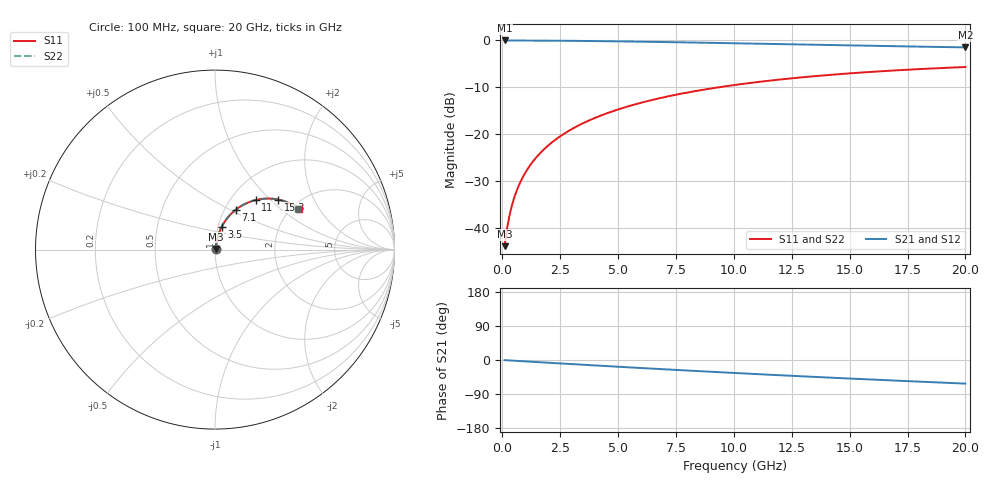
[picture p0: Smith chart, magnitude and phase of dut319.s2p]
! Touchstone file exported from HFSS 2026.1.0
!  File:  C:/ffzhzh/LocalFiles/Ansys_Project_Files/temp_train_BSMRDL_319_1783010787_51716.aedt
!  Generated:  12:48:00 AM Jul  3, 2026
!  Design:  BSMRDL
!  Project:  temp_train_BSMRDL_319_1783010787_51716
! Variables:
!  h_bsmrdl = 4.12um
!  h_ox = 20um
!  h_rdl = 5um
!  h_sub = 80um
!  h_tmrdl = 5um
!  h_tsv = 80um
!  h_via = 3um
!  l_bsmrdl = 987.64um
!  l_sub = 1387.64um
!  l_tmrdl = 200um
!  m_sub = 200um
!  pitch = 44.81um
!  r_tsv = 6um
!  s_tmrdl = 10um
!  w_bsmrdl = 17.76um
!  w_sub = 500um
!  w_tmrdl = 12um
!  x_tsv_center1 = 206um
!  x_tsv_center2 = 1211.4um
!  x_tsv_center3 = 1423.4um
!  x_tsv_center4 = 2428.8um
!  x_tsv_center5 = 2640.8um
!  x_tsv_center6 = 3646.2um
# GHz S MA R 50.000000
! Terminal data exported
! Port[1] = BSM_RDL1_1_T1
! Port[2] = BSM_RDL1_1_T2
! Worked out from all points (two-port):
!   200 points, 100 MHz to 20 GHz, reference 50 ohm
!   highest |S21| = -0.04 dB at 100 MHz (marker M1); lowest = -1.5 dB at 20 GHz (marker M2)
!   |S21| within 3 dB of the highest: start of sweep to end of sweep
!   lowest |S11| = -43.9 dB at 100 MHz (marker M3), VSWR 1.01, Z = 50.5 + j0.414 ohm
!   |S11| at or under -10 dB: start of sweep to 9.375 GHz
!   |S22| runs from -43.9 to -5.7 dB; largest |S21 - S12| = 9e-15
!   S11 on the Smith chart (normalised r, x): 100 MHz: 1.01, +0.01; 3.5 GHz: 1.04, +0.27; 7.1 GHz: 1.13, +0.53; 11 GHz: 1.30, +0.82; 15.3 GHz: 1.61, +1.12; 20 GHz: 2.16, +1.35
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0.1  0.006393 39.9  0.9951 -0.4  0.9951 -0.4  0.006393 39.9
! Gamma 0 0 0 0
! Port Impedance 50 0 50 0
0.2  0.009606 57.3  0.9949 -0.8  0.9949 -0.8  0.009606 57.3
0.3  0.01317 65.2  0.9946 -1.1  0.9946 -1.1  0.01317 65.2
0.4  0.0168 69.5  0.9944 -1.5  0.9944 -1.5  0.0168 69.5
0.5  0.02046 72.2  0.9942 -1.9  0.9942 -1.9  0.02046 72.2
0.6  0.02414 74.0  0.994 -2.2  0.994 -2.2  0.02414 74.0
0.8  0.03154 76.2  0.9936 -2.9  0.9936 -2.9  0.03154 76.2
1.1  0.04271 77.7  0.993 -4.0  0.993 -4.0  0.04271 77.7
1.5  0.05766 78.2  0.992 -5.5  0.992 -5.5  0.05766 78.2
2.1  0.08 77.5  0.99 -7.6  0.99 -7.6  0.07999 77.5
2.7  0.1021 76.1  0.9874 -9.8  0.9874 -9.8  0.1021 76.1
3.5  0.131 73.8  0.9833 -12.6  0.9833 -12.6  0.131 73.8
5  0.183 69.1  0.9734 -17.8  0.9734 -17.8  0.183 69.2
6.8  0.2413 63.4  0.959 -23.9  0.959 -23.9  0.2413 63.4
7.1  0.2506 62.4  0.9564 -24.9  0.9564 -24.9  0.2506 62.5
8.5  0.2919 58.1  0.9437 -29.4  0.9437 -29.4  0.2919 58.1
10.1  0.3354 53.2  0.9284 -34.5  0.9284 -34.5  0.3354 53.2
11  0.3582 50.5  0.9196 -37.3  0.9196 -37.3  0.3581 50.5
13.4  0.4125 43.6  0.8961 -44.4  0.8961 -44.4  0.4125 43.6
15.3  0.4494 38.3  0.8782 -49.8  0.8782 -49.8  0.4493 38.4
16.7  0.4731 34.6  0.8658 -53.6  0.8658 -53.6  0.4731 34.6
20  0.5185 26.1  0.8398 -62.3  0.8398 -62.3  0.5185 26.2
